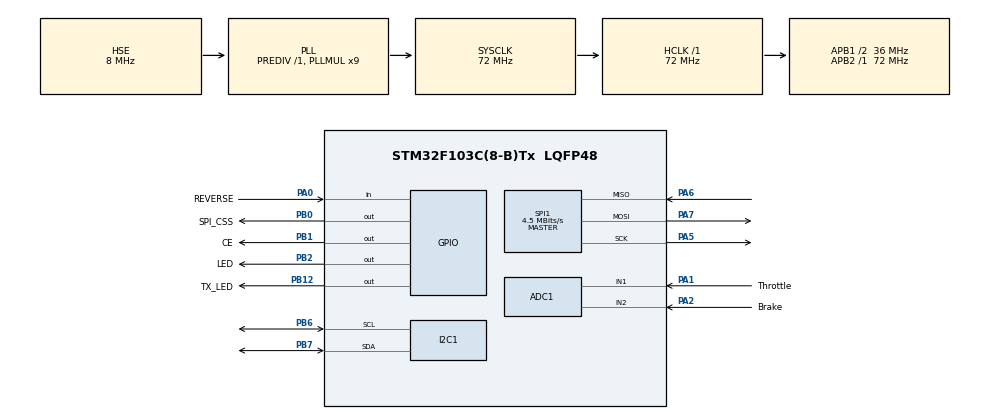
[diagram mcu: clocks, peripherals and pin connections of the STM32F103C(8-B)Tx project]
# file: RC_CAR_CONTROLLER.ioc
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ADC1.Channel-0\#ChannelRegularConversion=ADC_CHANNEL_1
ADC1.Channel-1\#ChannelRegularConversion=ADC_CHANNEL_2
ADC1.ExternalTrigConv=ADC_EXTERNALTRIGCONV_T3_TRGO
ADC1.NbrOfConversion=2
ADC1.NbrOfConversionFlag=1
ADC1.Rank-0\#ChannelRegularConversion=1
ADC1.Rank-1\#ChannelRegularConversion=2
ADC1.SamplingTime-0\#ChannelRegularConversion=ADC_SAMPLETIME_1CYCLE_5
ADC1.SamplingTime-1\#ChannelRegularConversion=ADC_SAMPLETIME_1CYCLE_5
ADC1.master=1
Dma.ADC1.0.Direction=DMA_PERIPH_TO_MEMORY
Dma.ADC1.0.Instance=DMA1_Channel1
Dma.ADC1.0.MemDataAlignment=DMA_MDATAALIGN_HALFWORD
Dma.ADC1.0.MemInc=DMA_MINC_ENABLE
Dma.ADC1.0.Mode=DMA_CIRCULAR
Dma.ADC1.0.PeriphDataAlignment=DMA_PDATAALIGN_HALFWORD
Dma.ADC1.0.PeriphInc=DMA_PINC_DISABLE
Dma.ADC1.0.Priority=DMA_PRIORITY_MEDIUM
Dma.Request0=ADC1
Mcu.Family=STM32F1
Mcu.Name=STM32F103C(8-B)Tx
Mcu.Package=LQFP48
NVIC.DMA1_Channel1_IRQn=true\:0\:0\:false\:false\:true\:false\:true\:true
NVIC.PriorityGroup=NVIC_PRIORITYGROUP_4
PA0-WKUP.GPIO_Label=REVERSE
PA0-WKUP.GPIO_PuPd=GPIO_PULLDOWN
PA0-WKUP.Signal=GPIO_Input
PA1.GPIO_Label=Throttle
PA1.Signal=ADCx_IN1
PA13.Mode=Serial_Wire
PA13.Signal=SYS_JTMS-SWDIO
PA14.Mode=Serial_Wire
PA14.Signal=SYS_JTCK-SWCLK
PA2.GPIO_Label=Brake
PA2.Signal=ADCx_IN2
PA5.Mode=Full_Duplex_Master
PA5.Signal=SPI1_SCK
PA6.Mode=Full_Duplex_Master
PA6.Signal=SPI1_MISO
PA7.Mode=Full_Duplex_Master
PA7.Signal=SPI1_MOSI
PB0.GPIO_Label=SPI_CSS
PB0.Signal=GPIO_Output
PB1.GPIO_Label=CE
PB1.Signal=GPIO_Output
PB12.GPIO_Label=TX_LED
PB12.Signal=GPIO_Output
PB2.GPIO_Label=LED
PB2.Signal=GPIO_Output
PB6.Mode=I2C
PB6.Signal=I2C1_SCL
PB7.Mode=I2C
PB7.Signal=I2C1_SDA
PD0-OSC_IN.Mode=HSE-External-Oscillator
PD0-OSC_IN.Signal=RCC_OSC_IN
PD1-OSC_OUT.Mode=HSE-External-Oscillator
PD1-OSC_OUT.Signal=RCC_OSC_OUT
ProjectManager.HeapSize=0x200
ProjectManager.StackSize=0x400
ProjectManager.TargetToolchain=STM32CubeIDE
RCC.ADCPresc=RCC_ADCPCLK2_DIV6
RCC.AHBFreq_Value=72000000
RCC.APB1CLKDivider=RCC_HCLK_DIV2
RCC.APB1Freq_Value=36000000
RCC.APB1TimFreq_Value=72000000
RCC.APB2Freq_Value=72000000
RCC.APB2TimFreq_Value=72000000
RCC.HCLKFreq_Value=72000000
RCC.PLLMUL=RCC_PLL_MUL9
RCC.PLLSourceVirtual=RCC_PLLSOURCE_HSE
RCC.SYSCLKFreq_VALUE=72000000
RCC.SYSCLKSource=RCC_SYSCLKSOURCE_PLLCLK
RCC.USBFreq_Value=72000000
SH.ADCx_IN1.0=ADC1_IN1,IN1
SH.ADCx_IN2.0=ADC1_IN2,IN2
SPI1.BaudRatePrescaler=SPI_BAUDRATEPRESCALER_16
SPI1.CalculateBaudRate=4.5 MBits/s
SPI1.Direction=SPI_DIRECTION_2LINES
SPI1.Mode=SPI_MODE_MASTER
SPI1.VirtualType=VM_MASTER
TIM3.Channel-Output\ Compare1\ No\ Output=TIM_CHANNEL_1
TIM3.Period=1000-1
TIM3.Prescaler=72-1
TIM3.TIM_MasterOutputTrigger=TIM_TRGO_UPDATE
VP_TIM3_VS_no_output1.Mode=Output Compare1 No Output
board=custom

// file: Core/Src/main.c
/* USER CODE BEGIN Header */
/**
  ******************************************************************************
  * @file           : main.c
  * @brief          : Main program body
  ******************************************************************************
  * @attention
  *
  * Copyright (c) 2025 STMicroelectronics.
  * All rights reserved.
  *
  * This software is licensed under terms that can be found in the LICENSE file
  * in the root directory of this software component.
  * If no LICENSE file comes with this software, it is provided AS-IS.
  *
  ******************************************************************************
  */
/* USER CODE END Header */
#include "main.h"

/* USER CODE BEGIN Includes */
#include "stdbool.h"
#include "math.h"
#include "NRF24L01.h"
#include "MPU6050.h"
#include "Pedals.h"
#include "EMA.h"
/* USER CODE END Includes */

/* USER CODE BEGIN PD */
#define SAMPLE_TIME_MS 20
#define COMP_FLT_ALPHA 0.4f
/* USER CODE END PD */

ADC_HandleTypeDef hadc1;
DMA_HandleTypeDef hdma_adc1;

I2C_HandleTypeDef hi2c1;

SPI_HandleTypeDef hspi1;

TIM_HandleTypeDef htim3;

/* USER CODE BEGIN PV */
// Transmitter variables
uint8_t TX_address[] = {0xEE,0xDD,0xCC,0xBB,0xAA};
uint8_t TX_data[5];

// ADC input variables for throttle and braking inputs
uint16_t adc_val[2];
uint16_t throttle;

// Brake input
uint16_t brake_input;
// Brake amount
uint8_t braking;

// Acceleration and deceleration(motor braking - slowing down motor using PWM)
uint8_t accel = 3;
uint8_t decel = 3;

// Steering variables
float steering_gain = 1.0f; // Ranges from 1 to 0. Decreases as speed increases. High gain means more steering.
int16_t steering; // Actual steering amount

// Final speeds
uint16_t speed_left;
uint16_t speed_right;

bool direction = true; // Forward(true) or backward(false)

/* Accelerometer variables
 * We only need x and y to calculate roll along z-axis. Note that here roll is calculated
 * around z-axis since the device is hand held such that we face the z-axis.
 * Gyroscope readings will also be used later along with accelerometer readings to make the
 * roll angle calculation more accurate.
 */
float ax,ay,gz;
float roll_est;

float roll_angle_z; // The calculated angle around Z-axis
float steering_angle = 0.0f; // Determines the steering

EMA_t ema_ax, ema_ay, ema_gz;
float filter_ax, filter_ay, filter_gz;

uint32_t lastSampled = 0;
// Test variable
int dir = 1;
/* USER CODE END PV */

void SystemClock_Config(void);
static void MX_GPIO_Init(void);
static void MX_DMA_Init(void);
static void MX_ADC1_Init(void);
static void MX_TIM3_Init(void);
static void MX_SPI1_Init(void);
static void MX_I2C1_Init(void);
/* USER CODE BEGIN PFP */
static inline
float map_range(float input, float input_start, float input_end, float output_start, float output_end);
/* USER CODE END PFP */

int main(void)
{

  /* MCU Configuration--------------------------------------------------------*/

  /* Reset of all peripherals, Initializes the Flash interface and the Systick. */
  HAL_Init();

  /* Configure the system clock */
  SystemClock_Config();

  /* Initialize all configured peripherals */
  MX_GPIO_Init();
  MX_DMA_Init();
  MX_ADC1_Init();
  MX_TIM3_Init();
  MX_SPI1_Init();
  MX_I2C1_Init();
  /* USER CODE BEGIN 2 */
  /* Initializing Exponential Moving Average filter with alpha 0.5 for cleaning
   * Accelerometer and Gyroscope outputs before giving as input to the complementary filter.
  */
  EMA_init(&ema_ax, 0.5);
  EMA_init(&ema_ay, 0.5);
  EMA_init(&ema_gz, 0.5);

  nrf24_init();
  nrf24_TXmode(TX_address, 10);

  HAL_ADC_Start_DMA(&hadc1, (uint32_t *) adc_val, 2);
  HAL_TIM_Base_Start(&htim3);

  // Create an instance of MPU6050 struct.
  MPU6050_t imu;
  /* USER CODE END 2 */

  /* Infinite loop */
  /* USER CODE BEGIN WHILE */
  while (1)
  {
	// Reverse enable/disable
	if(HAL_GPIO_ReadPin(REVERSE_GPIO_Port, REVERSE_Pin) == GPIO_PIN_SET){
	  if(throttle <= 100){
	  direction = !direction;
	  HAL_GPIO_TogglePin(REVERSE_GPIO_Port, REVERSE_Pin);
	  }
	}

	// Scale the ADC value to range 0 to 1000.
	throttle = (adc_val[0]*1000)/4096;

	MPU6050_Read_Accel(&imu);
	ax = imu.accel_x;
	ay = imu.accel_y;

	filter_ax = EMA_update(&ema_ax, ax);
	filter_ay = EMA_update(&ema_ay, ay);

	// Roll(Phi) estimate from accelerometer data(in radians)
	roll_est = atan2f(filter_ay,filter_ax);

	MPU6050_Read_Gyro(&imu);
	gz = imu.gyro_z;

	filter_gz = EMA_update(&ema_gz, gz) * (M_PI/180.0);

	/* Sensor fusion between accelerometer and gyroscope using complementary filter
	 * Angle_n+1 = Accl_n * alpha + (1-alpha)(angle_n + (dt*Gyr_n))
	 */

	// Compute dt
	uint32_t now = HAL_GetTick();
	float dt = (now - lastSampled) / 1000.0f;
	lastSampled = now;

	roll_angle_z = roll_est * COMP_FLT_ALPHA + (1 - COMP_FLT_ALPHA)*(roll_angle_z + dt *filter_gz);

	steering_angle = roll_angle_z * (180.0/M_PI);

	float steering_scaled = map_range(steering_angle, -120.0f, 120.0f, -200.0f, 200.0f);

	steering = steering_gain + steering_scaled;

	TX_data[0] = (uint8_t) direction;
	// Note: 16-bit values are sent as two 8-bit values with MSB stored in lower index than LSB.
	TX_data[1] = (throttle >> 8) & 0xFF;
	TX_data[2] = (throttle & 0xFF);
	TX_data[3] = (steering >> 8) & 0xFF;
	TX_data[4] = (steering & 0xFF);

	if(nrf24_Transmit(TX_data,5)){
		HAL_GPIO_TogglePin(TX_LED_GPIO_Port, TX_LED_Pin);
		HAL_Delay(100);
	}
    /* USER CODE END WHILE */

  }
}

void SystemClock_Config(void)
{
  RCC_OscInitTypeDef RCC_OscInitStruct = {0};
  RCC_ClkInitTypeDef RCC_ClkInitStruct = {0};
  RCC_PeriphCLKInitTypeDef PeriphClkInit = {0};

  /** Initializes the RCC Oscillators according to the specified parameters
  * in the RCC_OscInitTypeDef structure.
  */
  RCC_OscInitStruct.OscillatorType = RCC_OSCILLATORTYPE_HSE;
  RCC_OscInitStruct.HSEState = RCC_HSE_ON;
  RCC_OscInitStruct.HSEPredivValue = RCC_HSE_PREDIV_DIV1;
  RCC_OscInitStruct.HSIState = RCC_HSI_ON;
  RCC_OscInitStruct.PLL.PLLState = RCC_PLL_ON;
  RCC_OscInitStruct.PLL.PLLSource = RCC_PLLSOURCE_HSE;
  RCC_OscInitStruct.PLL.PLLMUL = RCC_PLL_MUL9;
  if (HAL_RCC_OscConfig(&RCC_OscInitStruct) != HAL_OK)
  {
    Error_Handler();
  }

  /** Initializes the CPU, AHB and APB buses clocks
  */
  RCC_ClkInitStruct.ClockType = RCC_CLOCKTYPE_HCLK|RCC_CLOCKTYPE_SYSCLK
                              |RCC_CLOCKTYPE_PCLK1|RCC_CLOCKTYPE_PCLK2;
  RCC_ClkInitStruct.SYSCLKSource = RCC_SYSCLKSOURCE_PLLCLK;
  RCC_ClkInitStruct.AHBCLKDivider = RCC_SYSCLK_DIV1;
  RCC_ClkInitStruct.APB1CLKDivider = RCC_HCLK_DIV2;
  RCC_ClkInitStruct.APB2CLKDivider = RCC_HCLK_DIV1;

  if (HAL_RCC_ClockConfig(&RCC_ClkInitStruct, FLASH_LATENCY_2) != HAL_OK)
  {
    Error_Handler();
  }
  PeriphClkInit.PeriphClockSelection = RCC_PERIPHCLK_ADC;
  PeriphClkInit.AdcClockSelection = RCC_ADCPCLK2_DIV6;
  if (HAL_RCCEx_PeriphCLKConfig(&PeriphClkInit) != HAL_OK)
  {
    Error_Handler();
  }
}

static void MX_ADC1_Init(void)
{

  ADC_ChannelConfTypeDef sConfig = {0};

  /** Common config
  */
  hadc1.Instance = ADC1;
  hadc1.Init.ScanConvMode = ADC_SCAN_ENABLE;
  hadc1.Init.ContinuousConvMode = DISABLE;
  hadc1.Init.DiscontinuousConvMode = DISABLE;
  hadc1.Init.ExternalTrigConv = ADC_EXTERNALTRIGCONV_T3_TRGO;
  hadc1.Init.DataAlign = ADC_DATAALIGN_RIGHT;
  hadc1.Init.NbrOfConversion = 2;
  if (HAL_ADC_Init(&hadc1) != HAL_OK)
  {
    Error_Handler();
  }

  /** Configure Regular Channel
  */
  sConfig.Channel = ADC_CHANNEL_1;
  sConfig.Rank = ADC_REGULAR_RANK_1;
  sConfig.SamplingTime = ADC_SAMPLETIME_1CYCLE_5;
  if (HAL_ADC_ConfigChannel(&hadc1, &sConfig) != HAL_OK)
  {
    Error_Handler();
  }

  /** Configure Regular Channel
  */
  sConfig.Channel = ADC_CHANNEL_2;
  sConfig.Rank = ADC_REGULAR_RANK_2;
  if (HAL_ADC_ConfigChannel(&hadc1, &sConfig) != HAL_OK)
  {
    Error_Handler();
  }

}

static void MX_I2C1_Init(void)
{

  hi2c1.Instance = I2C1;
  hi2c1.Init.ClockSpeed = 100000;
  hi2c1.Init.DutyCycle = I2C_DUTYCYCLE_2;
  hi2c1.Init.OwnAddress1 = 0;
  hi2c1.Init.AddressingMode = I2C_ADDRESSINGMODE_7BIT;
  hi2c1.Init.DualAddressMode = I2C_DUALADDRESS_DISABLE;
  hi2c1.Init.OwnAddress2 = 0;
  hi2c1.Init.GeneralCallMode = I2C_GENERALCALL_DISABLE;
  hi2c1.Init.NoStretchMode = I2C_NOSTRETCH_DISABLE;
  if (HAL_I2C_Init(&hi2c1) != HAL_OK)
  {
    Error_Handler();
  }

}

static void MX_SPI1_Init(void)
{

  /* SPI1 parameter configuration*/
  hspi1.Instance = SPI1;
  hspi1.Init.Mode = SPI_MODE_MASTER;
  hspi1.Init.Direction = SPI_DIRECTION_2LINES;
  hspi1.Init.DataSize = SPI_DATASIZE_8BIT;
  hspi1.Init.CLKPolarity = SPI_POLARITY_LOW;
  hspi1.Init.CLKPhase = SPI_PHASE_1EDGE;
  hspi1.Init.NSS = SPI_NSS_SOFT;
  hspi1.Init.BaudRatePrescaler = SPI_BAUDRATEPRESCALER_16;
  hspi1.Init.FirstBit = SPI_FIRSTBIT_MSB;
  hspi1.Init.TIMode = SPI_TIMODE_DISABLE;
  hspi1.Init.CRCCalculation = SPI_CRCCALCULATION_DISABLE;
  hspi1.Init.CRCPolynomial = 10;
  if (HAL_SPI_Init(&hspi1) != HAL_OK)
  {
    Error_Handler();
  }

}

static void MX_TIM3_Init(void)
{

  TIM_MasterConfigTypeDef sMasterConfig = {0};
  TIM_OC_InitTypeDef sConfigOC = {0};

  htim3.Instance = TIM3;
  htim3.Init.Prescaler = 72-1;
  htim3.Init.CounterMode = TIM_COUNTERMODE_UP;
  htim3.Init.Period = 1000-1;
  htim3.Init.ClockDivision = TIM_CLOCKDIVISION_DIV1;
  htim3.Init.AutoReloadPreload = TIM_AUTORELOAD_PRELOAD_DISABLE;
  if (HAL_TIM_OC_Init(&htim3) != HAL_OK)
  {
    Error_Handler();
  }
  sMasterConfig.MasterOutputTrigger = TIM_TRGO_UPDATE;
  sMasterConfig.MasterSlaveMode = TIM_MASTERSLAVEMODE_DISABLE;
  if (HAL_TIMEx_MasterConfigSynchronization(&htim3, &sMasterConfig) != HAL_OK)
  {
    Error_Handler();
  }
  sConfigOC.OCMode = TIM_OCMODE_TIMING;
  sConfigOC.Pulse = 0;
  sConfigOC.OCPolarity = TIM_OCPOLARITY_HIGH;
  sConfigOC.OCFastMode = TIM_OCFAST_DISABLE;
  if (HAL_TIM_OC_ConfigChannel(&htim3, &sConfigOC, TIM_CHANNEL_1) != HAL_OK)
  {
    Error_Handler();
  }

}

static void MX_DMA_Init(void)
{

  /* DMA controller clock enable */
  __HAL_RCC_DMA1_CLK_ENABLE();

  /* DMA interrupt init */
  /* DMA1_Channel1_IRQn interrupt configuration */
  HAL_NVIC_SetPriority(DMA1_Channel1_IRQn, 0, 0);
  HAL_NVIC_EnableIRQ(DMA1_Channel1_IRQn);

}

static void MX_GPIO_Init(void)
{
  GPIO_InitTypeDef GPIO_InitStruct = {0};

  /* GPIO Ports Clock Enable */
  __HAL_RCC_GPIOD_CLK_ENABLE();
  __HAL_RCC_GPIOA_CLK_ENABLE();
  __HAL_RCC_GPIOB_CLK_ENABLE();

  /*Configure GPIO pin Output Level */
  HAL_GPIO_WritePin(GPIOB, SPI_CSS_Pin|CE_Pin|LED_Pin|TX_LED_Pin, GPIO_PIN_RESET);

  /*Configure GPIO pin : REVERSE_Pin */
  GPIO_InitStruct.Pin = REVERSE_Pin;
  GPIO_InitStruct.Mode = GPIO_MODE_INPUT;
  GPIO_InitStruct.Pull = GPIO_PULLDOWN;
  HAL_GPIO_Init(REVERSE_GPIO_Port, &GPIO_InitStruct);

  /*Configure GPIO pins : SPI_CSS_Pin CE_Pin LED_Pin TX_LED_Pin */
  GPIO_InitStruct.Pin = SPI_CSS_Pin|CE_Pin|LED_Pin|TX_LED_Pin;
  GPIO_InitStruct.Mode = GPIO_MODE_OUTPUT_PP;
  GPIO_InitStruct.Pull = GPIO_NOPULL;
  GPIO_InitStruct.Speed = GPIO_SPEED_FREQ_LOW;
  HAL_GPIO_Init(GPIOB, &GPIO_InitStruct);

}

/* USER CODE BEGIN 4 */
// Helper Functions
static inline float map_range(float input, float input_start, float input_end, float output_start, float output_end){
	return output_start + ((output_end - output_start) / (input_end - input_start)) * (input - input_start);
}
/* USER CODE END 4 */

void Error_Handler(void)
{
  __disable_irq();
  while (1)
  {
  }
}
